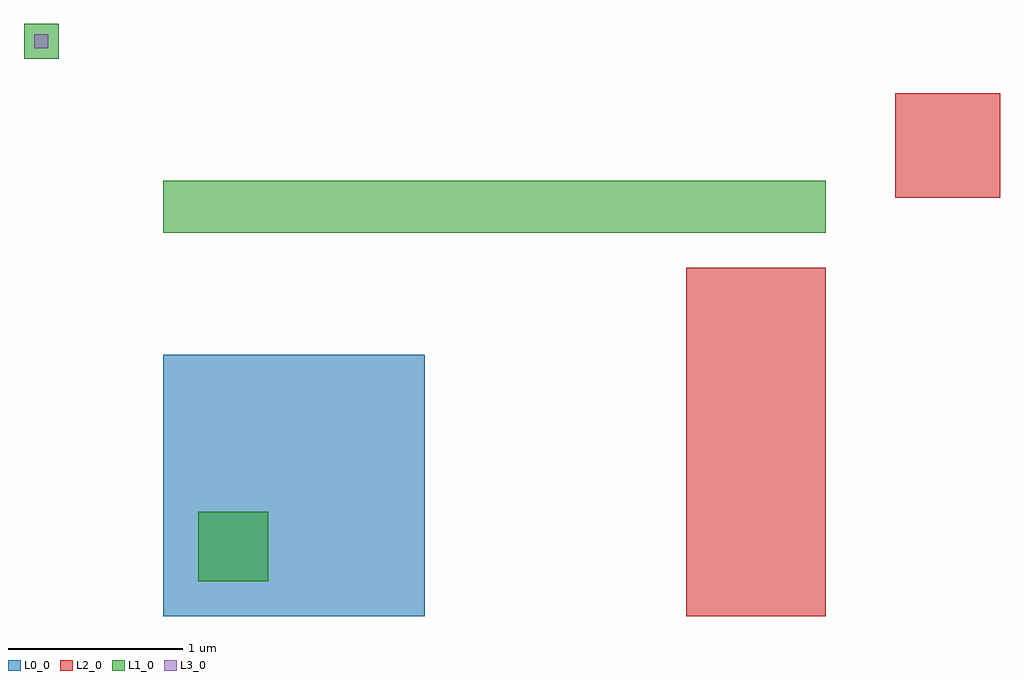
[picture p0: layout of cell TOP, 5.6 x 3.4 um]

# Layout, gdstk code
import gdstk
lib = gdstk.Library(unit=1e-6, precision=1e-09)
def R(c, l, rs):  # rectangles x0, y0, x1, y1
    for r in rs: c.add(gdstk.rectangle(r[:2], r[2:], *l))
L0_0 = (0, 0)
L1_0 = (1, 0)
L2_0 = (2, 0)
L3_0 = (3, 0)

leaf = lib.new_cell('LEAF')
R(leaf, L1_0, [(0,0,0.2,0.2)])
R(leaf, L3_0, [(0.06,0.06,0.14,0.14)])

top = lib.new_cell('TOP')
R(top, L0_0, [(1,1,2.5,2.5)])
R(top, L1_0, [(1.2,1.2,1.6,1.6), (1,3.2,4.8,3.5)])
R(top, L2_0, [(4,1,4.8,3), (5.2,3.4,5.8,4)])
top.add(gdstk.Reference(leaf, (0.2,4.2)))

lib.write_gds('TOP.gds')
